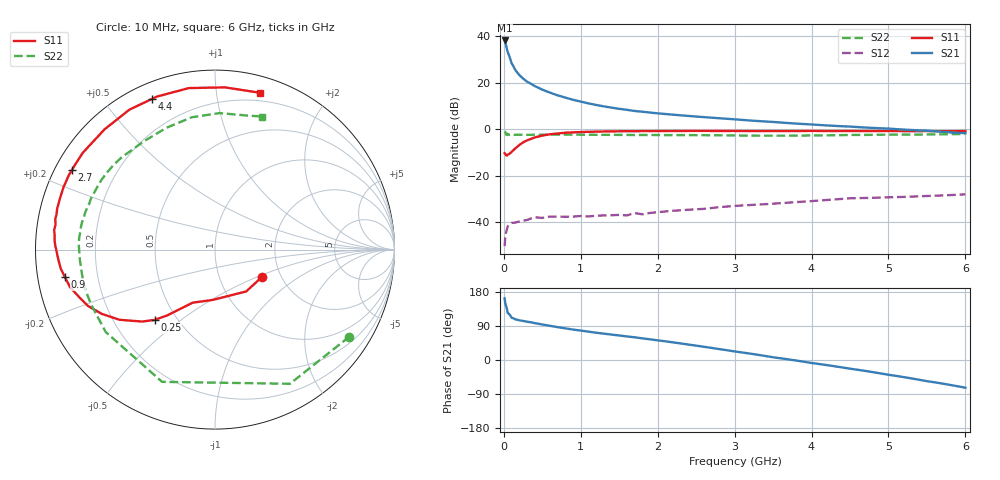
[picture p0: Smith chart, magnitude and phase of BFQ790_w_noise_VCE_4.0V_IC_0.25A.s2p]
! (c) 2015  Infineon Technologies AG, Munich
! Infineon Technologies  Discrete & RF Semiconductors
! BFQ790
! VCE =  4.0 V,  IC = 0.25 A
! Common Emitter S-Parameters:  May 2015
# GHz  S  MA  R  50
!  f  S11  S21  S12  S22
! GHz  MAG  ANG  MAG  ANG  MAG  ANG  MAG  ANG
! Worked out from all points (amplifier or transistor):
!   77 points, 10 MHz to 6 GHz, reference 50 ohm
!   highest |S21| = 38.2 dB at 10 MHz (marker M1)
!   |S21| within 3 dB of that: start of sweep to 35.27 MHz
!   unconditionally stable (mu >= 1): 193.4 MHz to end of sweep
!   at 130 MHz: K = 0.80, MSG = 33.6 dB, |S12| = -40.4 dB
!   at 2.2 GHz: K = 1.32, MAG = 17.3 dB, |S12| = -35.2 dB
!   at 6 GHz: K = 1.09, MAG = 11.3 dB, |S12| = -28.1 dB
!   lowest NFmin = 3.72 dB at 1.5 GHz
!   S11 on the Smith chart (normalised r, x): 10 MHz: 1.60, -0.53; 250 MHz: 0.38, -0.40; 900 MHz: 0.08, -0.09; 2.7 GHz: 0.05, +0.26; 4.4 GHz: 0.07, +0.66; 6 GHz: 0.13, +1.32
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0.01  0.3033 -29.9  81.35 162.8  0.003 66.6  0.8924 -32.9
0.02  0.2908 -53.3  72.45 148.1  0.0051 53.8  0.8563 -60.8
0.05  0.2802 -92.2  45.73 124.3  0.008 31.9  0.7936 -111.8
0.1  0.3209 -112.8  26.38 111.7  0.0095 22.0  0.7626 -143.0
0.15  0.3842 -120.5  18.68 107.3  0.0097 19.6  0.7548 -156.0
0.2  0.4523 -125.9  14.7 104.8  0.0102 22.5  0.7566 -162.9
0.25  0.5166 -130.7  12.28 103.0  0.0106 18.5  0.7547 -167.4
0.3  0.57 -135.3  10.59 101.2  0.011 15.5  0.7536 -170.9
0.4  0.6604 -143.7  8.479 97.3  0.0126 16.6  0.7549 -175.7
0.5  0.7252 -150.4  7.081 93.7  0.0122 13.9  0.7566 -179.3
0.6  0.7745 -156.1  6.108 90.2  0.013 13.3  0.7595 177.9
0.7  0.8047 -161.2  5.334 86.7  0.013 15.5  0.7598 175.4
0.9  0.8499 -169.6  4.283 80.3  0.013 11.5  0.7574 171.7
1.1  0.8741 -176.1  3.586 74.8  0.0131 13.6  0.7563 168.2
1.5  0.8972 174.8  2.737 64.7  0.0142 14.4  0.7501 162.5
2.1  0.9086 163.5  2.114 49.3  0.0168 15.0  0.7434 153.7
2.7  0.9121 150.8  1.762 31.9  0.0199 10.5  0.7368 142.0
3.1  0.9097 141.6  1.578 19.8  0.0226 6.3  0.7267 133.0
4.1  0.911 119.3  1.228 -10.6  0.0289 -8.3  0.7317 109.4
4.4  0.9097 112.8  1.152 -19.7  0.0314 -14.2  0.7425 102.3
5.1  0.9068 96.7  1 -42.0  0.0342 -28.2  0.76 86.0
6  0.9092 73.9  0.817 -73.1  0.0392 -49.1  0.7865 70.4
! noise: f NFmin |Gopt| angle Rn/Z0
0.45  6.14  0.5  143  0.6
0.9  4.32  0.63  168  0.19
1.5  3.72  0.73  -171  0.1
1.8  3.74  0.74  -167  0.12
2.6  3.94  0.76  -151  0.32
3.5  4.4  0.85  -134  0.67
